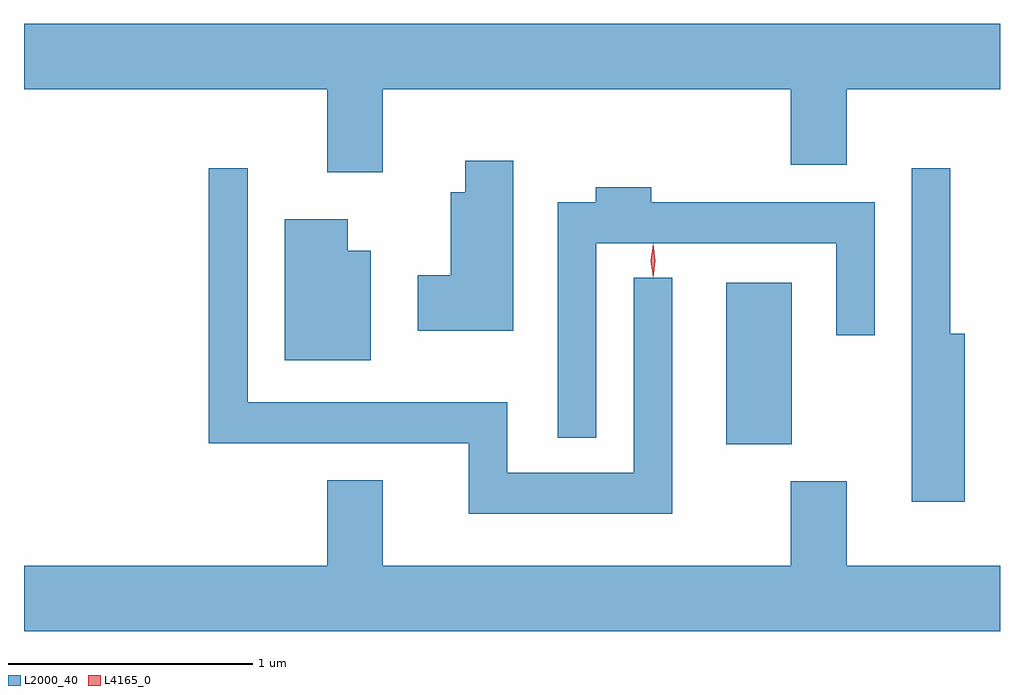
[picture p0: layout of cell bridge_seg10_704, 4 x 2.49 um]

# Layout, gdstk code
import gdstk
lib = gdstk.Library(unit=1e-6, precision=1e-09)
def R(c, l, rs):  # rectangles x0, y0, x1, y1
    for r in rs: c.add(gdstk.rectangle(r[:2], r[2:], *l))
def P(c, l, *ps):  # polygons
    for p in ps: c.add(gdstk.Polygon(p, *l))
L2000_40 = (2000, 40)
L4165_0 = (4165, 0)

bridge_seg10_704 = lib.new_cell('bridge_seg10_704')
R(bridge_seg10_704, L2000_40, [(910.116,2141.321,910.384,2141.984)])
P(bridge_seg10_704, L2000_40, [(908.709,2142.776),(910.381,2142.776),(910.381,2142.466),(910.609,2142.466),(910.609,2142.776),(911.238,2142.776),(911.238,2143.044),(907.238,2143.044),(907.238,2142.776),(908.481,2142.776),(908.481,2142.436),(908.709,2142.436)],
  [(909.244,2142.484),(909.046,2142.484),(909.046,2142.354),(908.986,2142.354),(908.986,2142.014),(908.851,2142.014),(908.851,2141.786),(909.244,2141.786)],
  [(909.894,2142.003),(909.736,2142.003),(909.736,2141.204),(909.219,2141.204),(909.219,2141.494),(908.154,2141.494),(908.154,2142.453),(907.996,2142.453),(907.996,2141.326),(909.061,2141.326),(909.061,2141.036),(909.894,2141.036)],
  [(911.094,2141.774),(911.034,2141.774),(911.034,2142.453),(910.876,2142.453),(910.876,2141.086),(911.094,2141.086)],
  [(909.584,2142.146),(910.566,2142.146),(910.566,2141.768),(910.724,2141.768),(910.724,2142.314),(909.809,2142.314),(909.809,2142.374),(909.581,2142.374),(909.581,2142.314),(909.426,2142.314),(909.426,2141.348),(909.584,2141.348)],
  [(908.659,2142.114),(908.564,2142.114),(908.564,2142.244),(908.306,2142.244),(908.306,2141.666),(908.659,2141.666)],
  [(911.238,2140.824),(910.609,2140.824),(910.609,2141.169),(910.381,2141.169),(910.381,2140.824),(908.709,2140.824),(908.709,2141.174),(908.481,2141.174),(908.481,2140.824),(907.238,2140.824),(907.238,2140.556),(911.238,2140.556)])
P(bridge_seg10_704, L4165_0, [(909.816,2142.004),(909.816,2142.004),(909.806,2142.073),(909.816,2142.143),(909.816,2142.143),(909.817,2142.143),(909.826,2142.073),(909.817,2142.004)])

lib.write_gds('bridge_seg10_704.gds')
